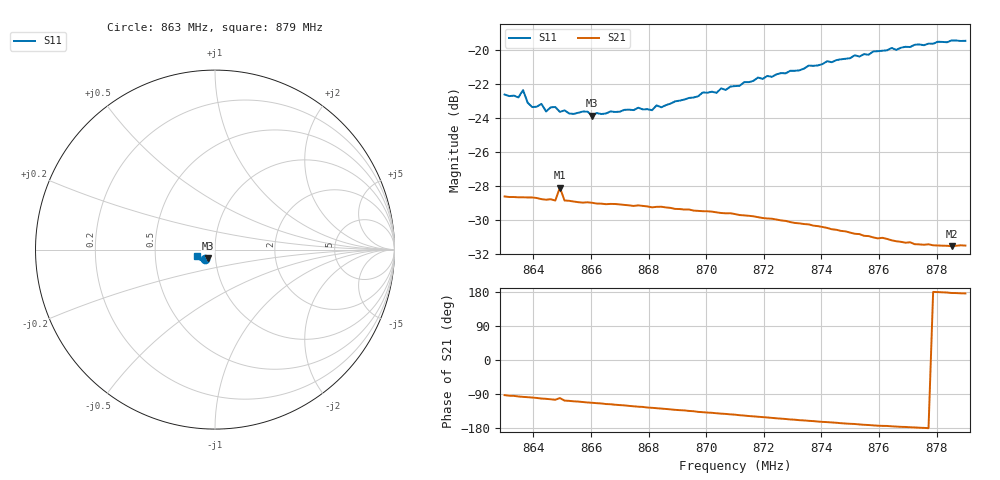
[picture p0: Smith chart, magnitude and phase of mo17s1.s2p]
# HZ S RI R 50
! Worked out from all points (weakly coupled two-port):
!   101 points, 863 MHz to 879 MHz, reference 50 ohm
!   highest |S21| = -28.08 dB at 864.92 MHz (marker M1); lowest = -31.5 dB at 878.52 MHz (marker M2)
!   lowest |S11| = -23.8 dB at 866.04 MHz (marker M3), VSWR 1.14, Z = 45.8 - j4.51 ohm
!   |S11| at or under -10 dB: start of sweep to end of sweep
!   S12 and S22 are empty: the file has one direction only
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8.63e8  -0.0543 -0.0503  -0.00176 -0.0371  0 0  0 0
8.6348e8  -0.0534 -0.0492  -0.00401 -0.0367  0 0  0 0
8.6364e8  -0.0594 -0.0479  -0.00472 -0.0366  0 0  0 0
8.638e8  -0.0514 -0.0476  -0.00521 -0.0365  0 0  0 0
8.6396e8  -0.0487 -0.0475  -0.00582 -0.0364  0 0  0 0
8.6428e8  -0.0486 -0.0498  -0.00743 -0.0357  0 0  0 0
8.6444e8  -0.0472 -0.0462  -0.00784 -0.0355  0 0  0 0
8.6476e8  -0.048 -0.0483  -0.00928 -0.0349  0 0  0 0
8.6492e8  -0.0396 -0.0527  -0.00717 -0.0388  0 0  0 0
8.6508e8  -0.0454 -0.0486  -0.0106 -0.0346  0 0  0 0
8.654e8  -0.0436 -0.0482  -0.0117 -0.0339  0 0  0 0
8.6572e8  -0.0433 -0.0498  -0.0127 -0.0333  0 0  0 0
8.6604e8  -0.0414 -0.0491  -0.0138 -0.0328  0 0  0 0
8.6844e8  -0.0412 -0.054  -0.0214 -0.0272  0 0  0 0
8.6988e8  -0.0451 -0.0601  -0.0249 -0.0226  0 0  0 0
8.7036e8  -0.0455 -0.0595  -0.0258 -0.0212  0 0  0 0
8.7052e8  -0.047 -0.0613  -0.026 -0.0206  0 0  0 0
8.71e8  -0.0487 -0.0615  -0.0268 -0.0193  0 0  0 0
8.7372e8  -0.0639 -0.0633  -0.0289 -0.00979  0 0  0 0
8.7644e8  -0.0855 -0.0548  -0.0275 -0.00243  0 0  0 0
8.7852e8  -0.0993 -0.0393  -0.0265 0.00147  0 0  0 0
8.79e8  -0.1007 -0.0348  -0.0266 0.00201  0 0  0 0
